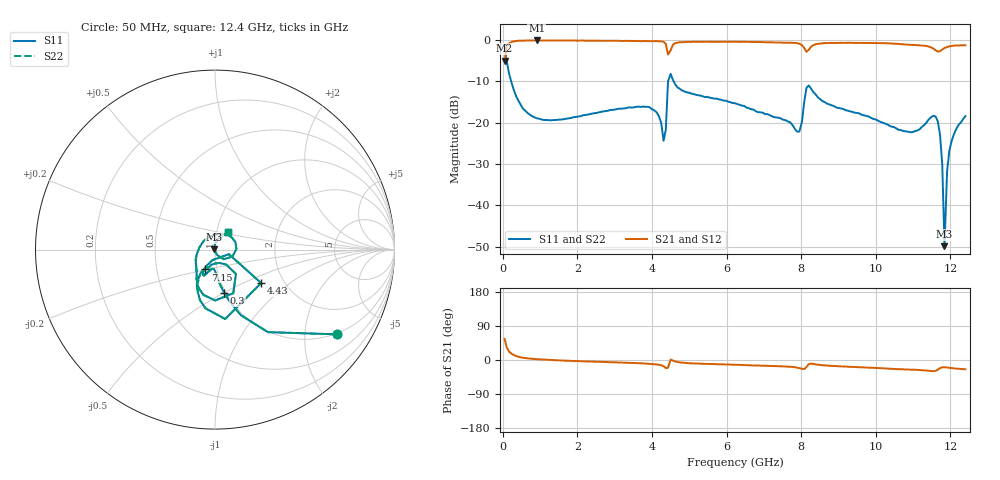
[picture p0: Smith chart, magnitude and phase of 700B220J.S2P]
!  American Technical Ceramics  Date:  3/13/98
!  One Norden Lane
!  Huntington Station,  NY.  11746-2102
!  Tel:  (516) 547-5700  Fax:  (516) 547-5748
!  Part Number  700B220J
!  Description: Porcelain, High Q, Low ESR
!  Application: Bypass, Coupling, Timing, Feedback
!  Tuning, Impedance Match, Blocking
# GHZ S DB R 50
! Freq  |S11|  S11 Ph  |S21|  S21 Ph  |S12|  S12 Ph  |S22|  S22 Ph
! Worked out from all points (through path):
!   201 points, 50 MHz to 12.4 GHz, reference 50 ohm
!   highest |S21| = -0.06 dB at 910 MHz (marker M1); lowest = -4.9 dB at 50 MHz (marker M2)
!   group delay of S21, straight-line fit = 7.31 ps
!   lowest |S11| = -49.9 dB at 11.84 GHz (marker M3), VSWR 1.01, Z = 49.7 + j0.0892 ohm
!   |S11| at or under -10 dB: 227.5 MHz to 4.43 GHz (4.202 GHz wide, 180 % of centre); 4.583 GHz to end of sweep
!   |S22| runs from -49.9 to -1.6 dB; largest |S21 - S12| = 0
!   S11 on the Smith chart (normalised r, x): 50 MHz: 0.97, -2.90; 300 MHz: 0.98, -0.50; 4.43 GHz: 1.53, -0.64; 7.15 GHz: 0.88, -0.20; 12.4 GHz: 1.13, +0.22
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0.05  -1.64 -34.8  -4.93 55.6  -4.93 55.6  -1.64 -34.8
0.11  -5.25 -57.3  -1.55 32.4  -1.55 32.4  -5.25 -57.3
0.3  -12.14 -78.1  -0.27 12.9  -0.27 12.9  -12.14 -78.1
0.91  -18.92 -91.4  -0.06 2.2  -0.06 2.2  -18.92 -91.4
2.15  -18.19 -104.4  -0.10 -3.3  -0.10 -3.3  -18.19 -104.4
4.19  -18.54 -118.9  -0.26 -12.6  -0.26 -12.6  -18.54 -118.9
4.31  -24.38 -103.8  -0.37 -16.6  -0.37 -16.6  -24.38 -103.8
4.37  -21.75 -18.2  -0.90 -21.4  -0.90 -21.4  -21.75 -18.2
4.43  -9.96 -36.0  -3.48 -20.5  -3.48 -20.5  -9.96 -36.0
4.62  -10.65 -106.7  -0.74 -3.7  -0.74 -3.7  -10.65 -106.7
6.23  -15.27 -120.0  -0.37 -12.5  -0.37 -12.5  -15.27 -120.0
7.15  -18.15 -116.4  -0.51 -15.5  -0.51 -15.5  -18.15 -116.4
7.95  -22.13 -71.9  -0.86 -21.4  -0.86 -21.4  -22.13 -71.9
8.14  -11.58 -67.3  -2.79 -18.7  -2.79 -18.7  -11.58 -67.3
8.32  -12.51 -111.6  -1.21 -10.6  -1.21 -10.6  -12.51 -111.6
10.36  -20.69 -178.8  -0.78 -22.9  -0.78 -22.9  -20.69 -178.8
11.66  -19.63 -22.0  -2.76 -25.7  -2.76 -25.7  -19.63 -22.0
11.78  -30.12 -69.7  -2.26 -19.4  -2.26 -19.4  -30.12 -69.7
11.84  -49.91 163.7  -1.87 -19.2  -1.87 -19.2  -49.91 163.7
11.91  -31.70 93.5  -1.64 -19.6  -1.64 -19.6  -31.70 93.5
11.97  -26.79 81.7  -1.47 -20.7  -1.47 -20.7  -26.79 81.7
12.4  -18.40 53.0  -1.24 -24.5  -1.24 -24.5  -18.40 53.0
